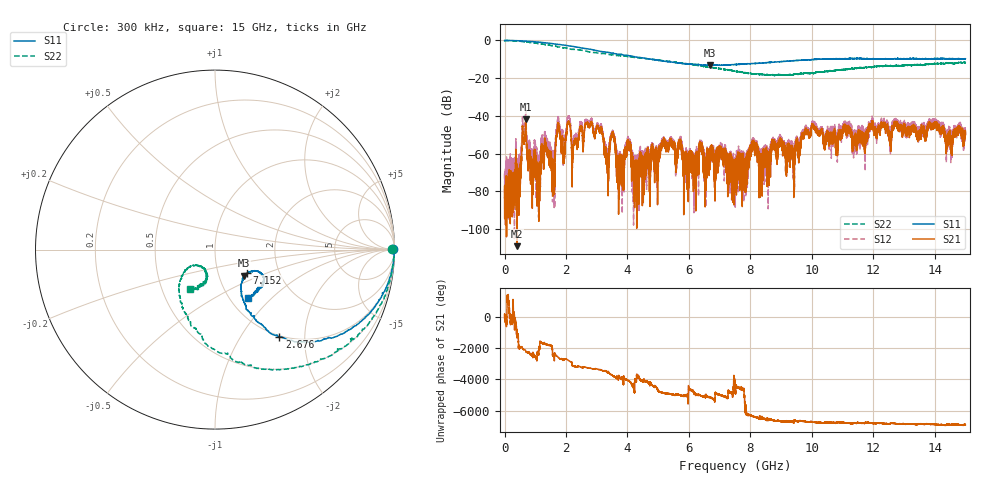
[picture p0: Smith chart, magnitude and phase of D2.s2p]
!Agilent Technologies,N5230C,SG49000117,A.08.50.07
!Agilent N5230C: A.08.50.07
!Date: Monday, December 11, 2023 23:20:37
!Correction: S11(Full 2 Port(1,2))
!S21(Full 2 Port(1,2))
!S12(Full 2 Port(1,2))
!S22(Full 2 Port(1,2))
!S2P File: Measurements: S11, S21, S12, S22:
# Hz S  RI  R 50
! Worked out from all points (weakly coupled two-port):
!   20001 points, 300 kHz to 15 GHz, reference 50 ohm
!   highest |S21| = -41.83 dB at 688.8 MHz (marker M1); lowest = -109.1 dB at 399.3 MHz (marker M2)
!   lowest |S11| = -13.2 dB at 6.681 GHz (marker M3), VSWR 1.56, Z = 65.9 - j20.2 ohm
!   |S11| at or under -10 dB: 4.792955 GHz to 4.803164 GHz (10.21 MHz wide, 0.213 % of centre); 4.803 GHz to 10.1 GHz (5.292 GHz wide, 71 % of centre); 10.14704 GHz to 10.16675 GHz (19.72 MHz wide, 0.194 % of centre) (the widest 3 of 21)
!   |S22| runs from -18.7 to 0.0 dB; largest |S21 - S12| = 0.0067
!   S11 on the Smith chart (normalised r, x): 300 kHz: open; 2.676 GHz: 0.98, -1.50; 7.152 GHz: 1.37, -0.38; 15 GHz: 1.21, -0.73
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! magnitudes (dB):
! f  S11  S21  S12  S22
! 300 kHz  -0.1  -77.6  -73.8  -0.1
! 399.3 MHz  -0.1  -109.1  -85.3  -0.3
! 688.8 MHz  -0.4  -41.8  -37.0  -1.0
! 1.096 GHz  -0.9  -69.4  -65.8  -1.6
! 1.272 GHz  -1.1  -62.5  -61.7  -2.0
! 1.573 GHz  -1.7  -68.5  -66.9  -2.8
! 1.74 GHz  -2.1  -43.7  -40.2  -3.4
! 2.501 GHz  -4.0  -45.6  -43.4  -5.2
! 2.676 GHz  -4.4  -44.2  -42.2  -5.7
! 3.113 GHz  -5.7  -47.1  -45.6  -6.8
! 3.323 GHz  -6.2  -61.8  -60.7  -7.1
! 3.524 GHz  -6.8  -49.5  -49.0  -7.6
! 3.761 GHz  -7.4  -65.7  -60.5  -8.1
! 4.034 GHz  -8.0  -55.9  -51.8  -8.6
! 4.264 GHz  -8.8  -67.3  -64.8  -9.1
! 5 GHz  -10.5  -61.8  -61.6  -10.4
! 6.681 GHz  -13.2  -59.6  -58.1  -14.1
! 7.152 GHz  -13.1  -61.3  -57.1  -15.4
! 7.5 GHz  -12.7  -64.1  -69.7  -16.3
! 10 GHz  -10.1  -45.4  -44.4  -17.2
! 12.5 GHz  -9.8  -48.4  -46.9  -13.5
! 15 GHz  -9.7  -49.9  -46.2  -11.8
